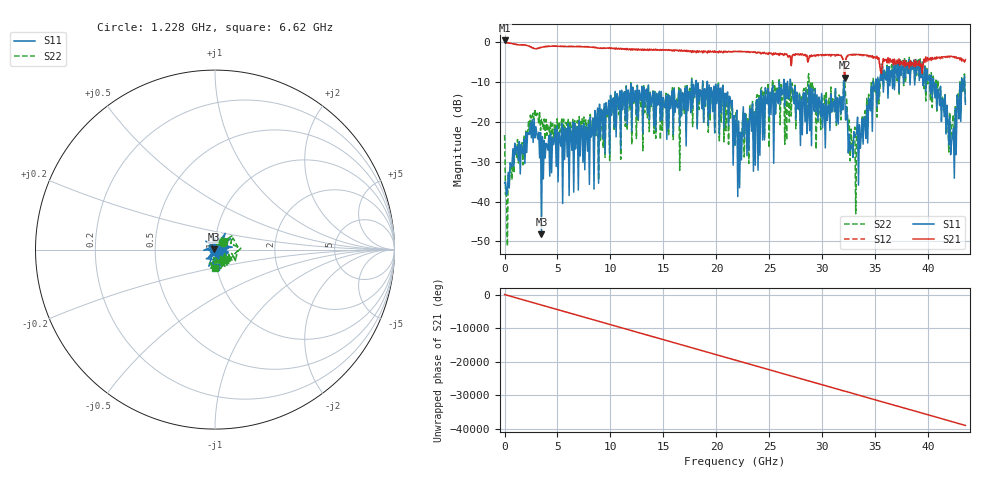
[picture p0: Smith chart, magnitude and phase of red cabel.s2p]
#  HZ  S  RI  R  50.00
! Rohde & Schwarz Vector Network Analyzer
! Rohde-Schwarz,ZNA43-2Port,1332450042101266,2.10
! Created: UTC 9/3/2021, 11:18:47 AM
! freq[Hz]  re:S11  im:S11  re:S21  im:S21  re:S12  im:S12  re:S22  im:S22
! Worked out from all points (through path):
!   501 points, 10 MHz to 43.5 GHz, reference 50 ohm
!   highest |S21| = 0.35 dB at 10 MHz (marker M1); lowest = -8.9 dB at 32.11 GHz (marker M2)
!   lowest |S11| = -48.2 dB at 3.489 GHz (marker M3), VSWR 1.01, Z = 49.6 + j0.103 ohm
!   |S11| at or under -10 dB: start of sweep to 17.66 GHz; 19.15 GHz to 25.93 GHz (6.782 GHz wide, 30.1 % of centre); 27 GHz to 32.02 GHz (5.013 GHz wide, 17 % of centre)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
!   |S22| runs from -51.2 to -3.9 dB; largest |S21 - S12| = 0.13
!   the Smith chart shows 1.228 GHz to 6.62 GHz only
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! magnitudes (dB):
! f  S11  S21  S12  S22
! 10 MHz  -35.3  0.3  -0.1  -23.3
! 270.9 MHz  -37.6  -0.2  -0.2  -51.2
! 2.619 GHz  -19.5  -1.5  -1.5  -18.5
! 3.489 GHz  -48.2  -1.4  -1.3  -19.2
! 7.316 GHz  -21.0  -1.2  -1.2  -19.2
! 14.54 GHz  -14.9  -2.0  -2.0  -15.2
! 21.15 GHz  -21.1  -2.3  -2.4  -25.7
! 21.75 GHz  -25.8  -2.4  -2.4  -25.9
! 22.19 GHz  -36.5  -2.4  -2.5  -28.3
! 22.62 GHz  -24.1  -2.4  -2.5  -28.8
! 23.49 GHz  -32.4  -2.5  -2.6  -24.9
! 24.8 GHz  -15.5  -2.9  -2.9  -13.1
! 29.06 GHz  -11.7  -3.6  -3.8  -10.3
! 29.58 GHz  -19.7  -3.2  -3.4  -20.0
! 32.11 GHz  -13.0  -8.9  -9.1  -9.2
! 32.63 GHz  -27.2  -3.2  -3.3  -29.8
! 32.98 GHz  -22.5  -3.1  -3.3  -23.5
! 34.8 GHz  -9.9  -4.0  -4.1  -9.2
! 36.28 GHz  -6.3  -5.1  -5.3  -6.2
! 39.24 GHz  -4.8  -6.1  -6.4  -4.3
! 42.28 GHz  -23.5  -3.7  -3.8  -20.1
! 43.5 GHz  -15.6  -4.4  -4.6  -15.0
